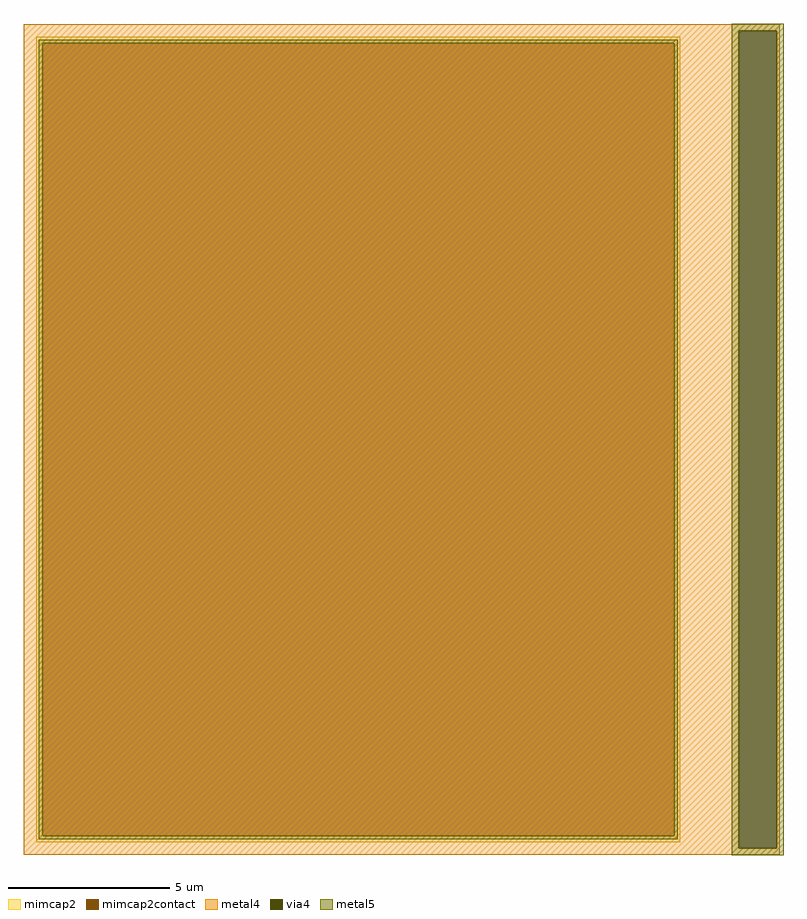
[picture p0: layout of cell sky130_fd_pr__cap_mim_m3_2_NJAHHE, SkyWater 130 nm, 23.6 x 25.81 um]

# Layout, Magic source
magic
tech sky130A
magscale 1 2
<< metal4 >>
rect -2349 2539 2349 2580
rect -2349 -2539 2093 2539
rect 2329 -2539 2349 2539
rect -2349 -2580 2349 -2539
<< via4 >>
rect 2093 -2539 2329 2539
<< mimcap2 >>
rect -2269 2460 1731 2500
rect -2269 -2460 -2229 2460
rect 1691 -2460 1731 2460
rect -2269 -2500 1731 -2460
<< mimcap2contact >>
rect -2229 -2460 1691 2460
<< metal5 >>
rect 2051 2539 2371 2581
rect -2253 2460 1715 2484
rect -2253 -2460 -2229 2460
rect 1691 -2460 1715 2460
rect -2253 -2484 1715 -2460
rect 2051 -2539 2093 2539
rect 2329 -2539 2371 2539
rect 2051 -2581 2371 -2539
<< properties >>
string FIXED_BBOX -2349 -2580 1811 2580
string gencell sky130_fd_pr__cap_mim_m3_2
string library sky130
string parameters w 20 l 25 val 1.017k carea 2.00 cperi 0.19 nx 1 ny 1 dummy 0 square 0 lmin 2.00 wmin 2.00 lmax 30.0 wmax 30.0 dc 0 bconnect 1 tconnect 1 ccov 100
<< end >>
